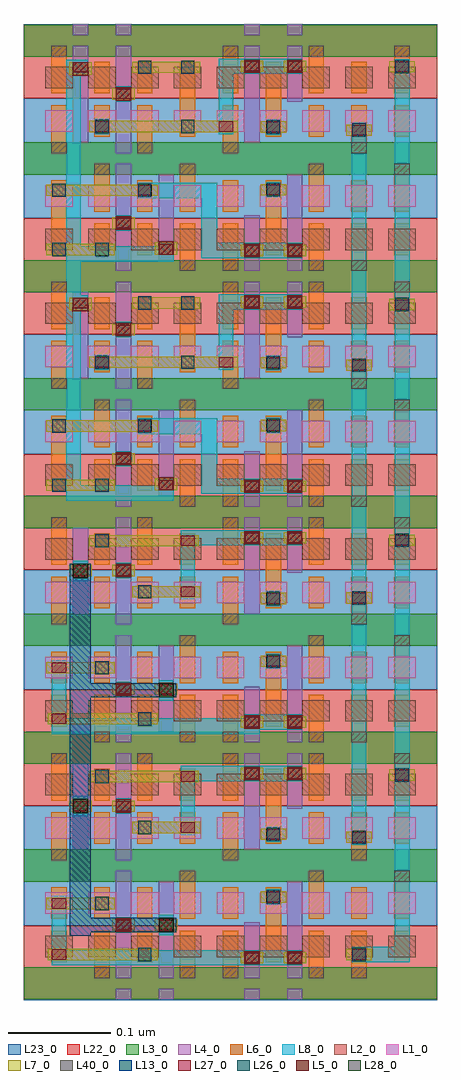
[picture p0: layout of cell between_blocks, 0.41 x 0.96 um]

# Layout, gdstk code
from math import pi, radians
import gdstk
lib = gdstk.Library(unit=1e-6, precision=2.5e-10)
def R(c, l, rs):  # rectangles x0, y0, x1, y1
    for r in rs: c.add(gdstk.rectangle(r[:2], r[2:], *l))
def A(c, l, x, y, w, h, nx, ny, dx, dy):  # array of equal rectangles
    R(c, l, [(x+i*dx, y+j*dy, x+i*dx+w, y+j*dy+h) for i in range(nx) for j in range(ny)])
def P(c, l, *ps):  # polygons
    for p in ps: c.add(gdstk.Polygon(p, *l))
L1_0 = (1, 0)
L2_0 = (2, 0)
L3_0 = (3, 0)
L4_0 = (4, 0)
L5_0 = (5, 0)
L6_0 = (6, 0)
L7_0 = (7, 0)
L8_0 = (8, 0)
L13_0 = (13, 0)
L22_0 = (22, 0)
L23_0 = (23, 0)
L26_0 = (26, 0)
L27_0 = (27, 0)
L28_0 = (28, 0)
L40_0 = (40, 0)

nand = lib.new_cell('nand')
A(nand, L1_0, 0.1255, 0.099, 0.027, 0.021, 4, 1, 0.042, 0)
A(nand, L2_0, 0.1255, 0.1415, 0.027, 0.021, 4, 1, 0.042, 0)
R(nand, L3_0, [(0.1045,0.057,0.2995,0.0885), (0.1045,0.1725,0.2995,0.204)])
R(nand, L4_0, [(0.1945,0.057,0.2095,0.0675), (0.1945,0.078,0.2095,0.183), (0.1525,0.0885,0.1675,0.1725), (0.1945,0.1935,0.2095,0.204)])
R(nand, L5_0, [(0.1525,0.1245,0.1675,0.1375), (0.1945,0.1245,0.2095,0.1375)])
A(nand, L6_0, 0.1735, 0.094, 0.015, 0.031, 3, 1, 0.042, 0)
R(nand, L6_0, [(0.1315,0.078,0.1465,0.125), (0.1315,0.1365,0.1465,0.183), (0.1735,0.1365,0.1885,0.1675), (0.2155,0.1365,0.2305,0.183), (0.2575,0.1365,0.2725,0.1675)])
R(nand, L7_0, [(0.2105,0.1045,0.2775,0.1155), (0.149,0.1255,0.171,0.1365), (0.191,0.1255,0.213,0.1365), (0.1685,0.1545,0.276,0.1655)])
R(nand, L8_0, [(0.258,0.1025,0.272,0.1675), (0.153,0.1235,0.167,0.1385), (0.195,0.1235,0.209,0.1385)])
R(nand, L22_0, [(0.1045,0.1315,0.2995,0.204)])
R(nand, L23_0, [(0.1045,0.057,0.2995,0.1315)])
R(nand, L26_0, [(0.2165,0.1035,0.2295,0.1165), (0.1745,0.1535,0.1875,0.1665)])
R(nand, L27_0, [(0.258,0.105,0.272,0.115), (0.153,0.126,0.167,0.136), (0.195,0.126,0.209,0.136), (0.258,0.155,0.272,0.165)])
R(nand, L40_0, [(0.1315,0.078,0.1465,0.0885), (0.1315,0.1725,0.1465,0.183), (0.2155,0.1725,0.2305,0.183)])

nor = lib.new_cell('nor')
A(nor, L1_0, 0.178, 0.0425, 0.027, 0.021, 4, 1, 0.042, 0)
A(nor, L2_0, 0.178, 0.085, 0.027, 0.021, 4, 1, 0.042, 0)
R(nor, L3_0, [(0.157,0.0005,0.352,0.032), (0.157,0.116,0.352,0.1475)])
R(nor, L4_0, [(0.247,0.0005,0.262,0.011), (0.247,0.0215,0.262,0.1265), (0.205,0.032,0.22,0.116), (0.247,0.137,0.262,0.1475)])
R(nor, L5_0, [(0.247,0.073,0.262,0.086), (0.205,0.0975,0.22,0.1105)])
R(nor, L6_0, [(0.184,0.0215,0.199,0.0685), (0.268,0.0215,0.283,0.0685), (0.226,0.0375,0.241,0.0685), (0.31,0.0375,0.325,0.111), (0.184,0.08,0.199,0.1265), (0.226,0.08,0.241,0.111), (0.268,0.08,0.283,0.111)])
R(nor, L7_0, [(0.221,0.042,0.33,0.053), (0.2435,0.074,0.2655,0.085), (0.2015,0.0985,0.2235,0.1105), (0.263,0.1,0.33,0.111)])
R(nor, L8_0, [(0.2265,0.04,0.2405,0.055), (0.2475,0.072,0.2615,0.087), (0.2055,0.098,0.2195,0.113)])
R(nor, L22_0, [(0.157,0.075,0.352,0.1475)])
R(nor, L23_0, [(0.157,0.0005,0.352,0.075)])
R(nor, L26_0, [(0.227,0.041,0.24,0.054), (0.311,0.041,0.324,0.054), (0.269,0.099,0.282,0.112), (0.311,0.099,0.324,0.112)])
R(nor, L27_0, [(0.2265,0.0425,0.2405,0.0525), (0.2475,0.0745,0.2615,0.0845), (0.2055,0.1005,0.2195,0.1105)])
R(nor, L40_0, [(0.184,0.0215,0.199,0.032), (0.268,0.0215,0.283,0.032), (0.184,0.116,0.199,0.1265)])

sram_filler = lib.new_cell('sram_filler')
R(sram_filler, L1_0, [(0.022,0.042,0.049,0.063), (0.064,0.042,0.091,0.063)])
R(sram_filler, L2_0, [(0.022,0.0845,0.049,0.1055), (0.064,0.0845,0.091,0.1055)])
R(sram_filler, L3_0, [(0.001,0,0.112,0.0315), (0.001,0.1155,0.112,0.147)])
R(sram_filler, L6_0, [(0.028,0.021,0.043,0.068), (0.07,0.037,0.085,0.068), (0.028,0.0795,0.043,0.1105), (0.07,0.0795,0.085,0.126)])
R(sram_filler, L22_0, [(0.001,0.0745,0.112,0.147)])
R(sram_filler, L23_0, [(0.001,0,0.112,0.0745)])
R(sram_filler, L40_0, [(0.028,0.021,0.043,0.0315), (0.07,0.1155,0.085,0.126)])

inv = lib.new_cell('inv')
A(inv, L1_0, 0.021, 0.042, 0.027, 0.021, 3, 1, 0.042, 0)
A(inv, L2_0, 0.021, 0.0845, 0.027, 0.021, 3, 1, 0.042, 0)
R(inv, L3_0, [(0,0,0.153,0.0315), (0,0.1155,0.153,0.147)])
R(inv, L4_0, [(0.048,0.0315,0.063,0.126), (0.09,0.0715,0.105,0.126), (0.048,0.1365,0.063,0.147), (0.09,0.1365,0.105,0.147)])
R(inv, L5_0, [(0.048,0.0995,0.063,0.1125), (0.09,0.0995,0.105,0.1125)])
R(inv, L6_0, [(0.027,0.021,0.042,0.068), (0.069,0.037,0.084,0.1105), (0.111,0.037,0.126,0.068), (0.027,0.0795,0.042,0.126), (0.111,0.0795,0.126,0.126)])
R(inv, L7_0, [(0.064,0.041,0.089,0.052), (0.0445,0.1005,0.0665,0.1115), (0.0865,0.1005,0.1085,0.1115)])
R(inv, L8_0, [(0.0695,0.039,0.0835,0.054), (0.0485,0.0985,0.1045,0.1135)])
R(inv, L22_0, [(0,0.0745,0.153,0.147)])
R(inv, L23_0, [(0,0,0.153,0.0745)])
R(inv, L26_0, [(0.07,0.04,0.083,0.053)])
R(inv, L27_0, [(0.0695,0.0415,0.0835,0.0515), (0.0485,0.101,0.0625,0.111), (0.0905,0.101,0.1045,0.111)])
R(inv, L40_0, [(0.027,0.021,0.042,0.0315), (0.027,0.1155,0.042,0.126), (0.111,0.1155,0.126,0.126)])

between_blocks = lib.new_cell('between_blocks')
A(between_blocks, L1_0, 0.145, -0.233, 0.027, 0.021, 3, 4, 0.042, 0.231)
A(between_blocks, L1_0, 0.355, -0.233, 0.027, 0.021, 1, 4, 0, 0.231)
A(between_blocks, L1_0, 0.103, -0.1595, 0.027, 0.021, 3, 4, 0.042, 0.231)
A(between_blocks, L1_0, 0.271, -0.1595, 0.027, 0.021, 1, 4, 0, 0.231)
R(between_blocks, L1_0, [(0.313,-0.233,0.34,-0.212), (0.313,-0.1595,0.34,-0.1385), (0.313,-0.002,0.34,0.019), (0.313,0.0715,0.34,0.0925), (0.313,0.229,0.34,0.25), (0.313,0.3025,0.34,0.3235), (0.313,0.46,0.34,0.481), (0.313,0.5335,0.34,0.5545)])
A(between_blocks, L2_0, 0.145, -0.2755, 0.027, 0.021, 6, 4, 0.042, 0.231)
A(between_blocks, L2_0, 0.103, -0.117, 0.027, 0.021, 3, 4, 0.042, 0.231)
A(between_blocks, L2_0, 0.271, -0.117, 0.027, 0.021, 3, 4, 0.042, 0.231)
R(between_blocks, L3_0, [(0.402,-0.196,0.421,-0.1825), (0.4425,0.621,0.465,0.636)])
A(between_blocks, L4_0, 0.172, -0.296, 0.015, 0.105, 1, 8, 0, 0.1155)
A(between_blocks, L4_0, 0.298, -0.296, 0.015, 0.0545, 1, 4, 0, 0.231)
A(between_blocks, L4_0, 0.34, -0.296, 0.015, 0.0945, 1, 4, 0, 0.231)
A(between_blocks, L4_0, 0.13, -0.17, 0.015, 0.084, 1, 3, 0, 0.231)
A(between_blocks, L4_0, 0.298, -0.17, 0.015, 0.0945, 1, 4, 0, 0.231)
A(between_blocks, L4_0, 0.34, -0.13, 0.015, 0.0545, 1, 4, 0, 0.231)
A(between_blocks, L4_0, 0.214, -0.0545, 0.015, 0.084, 1, 3, 0, 0.231)
R(between_blocks, L4_0, [(0.172,-0.317,0.187,-0.3065), (0.214,-0.317,0.229,-0.3065), (0.298,-0.317,0.313,-0.3065), (0.34,-0.317,0.355,-0.3065), (0.214,-0.296,0.229,-0.2015), (0.13,0.523,0.145,0.6175), (0.13,0.628,0.145,0.6385), (0.172,0.628,0.187,0.6385), (0.298,0.628,0.313,0.6385), (0.34,0.628,0.355,0.6385)])
R(between_blocks, L6_0, [(0.403,-0.2785,0.418,-0.2675), (0.403,-0.1635,0.418,-0.1525), (0.445,-0.1025,0.46,-0.0915), (0.403,0.071,0.418,0.082), (0.445,0.1275,0.46,0.1385), (0.403,0.299,0.418,0.31), (0.445,0.3585,0.46,0.3695), (0.403,0.5295,0.418,0.5405), (0.445,0.5915,0.46,0.6025)])
R(between_blocks, L7_0, [(0.398,-0.2785,0.423,-0.2675), (0.398,-0.1635,0.423,-0.1525), (0.44,-0.1025,0.465,-0.0915), (0.398,0.071,0.423,0.082), (0.44,0.1275,0.465,0.1385), (0.398,0.299,0.423,0.31), (0.233,0.302,0.2915,0.313), (0.44,0.3585,0.465,0.3695), (0.398,0.5295,0.423,0.5405), (0.233,0.533,0.2915,0.544), (0.44,0.5915,0.465,0.6025)])
R(between_blocks, L8_0, [(0.1095,-0.2835,0.3305,-0.2685), (0.2145,-0.254,0.2285,-0.234), (0.4035,-0.1655,0.4175,0.5425), (0.1305,-0.1375,0.1445,-0.1175), (0.2145,-0.024,0.2285,-0.004), (0.1305,0.093,0.1445,0.113), (0.173,0.21,0.188,0.2175), (0.173,0.3365,0.1845,0.344), (0.1735,0.4415,0.1835,0.4475), (0.173,0.5665,0.186,0.576)])
P(between_blocks, L8_0, [(0.46,0.6045),(0.46,-0.2805),(0.4035,-0.2805),(0.4035,-0.2655),(0.4455,-0.2655),(0.4455,0.6045)],
  [(0.3185,0.605),(0.3185,0.59),(0.287,0.59),(0.287,0.531),(0.273,0.531),(0.273,0.605)],
  [(0.3185,0.374),(0.3185,0.359),(0.287,0.359),(0.287,0.3),(0.273,0.3),(0.273,0.374)],
  [(0.318,0.143),(0.318,0.128),(0.2495,0.128),(0.2495,0.1135),(0.2355,0.1135),(0.2355,0.143)],
  [(0.318,-0.088),(0.318,-0.103),(0.2495,-0.103),(0.2495,-0.1175),(0.2355,-0.1175),(0.2355,-0.088)],
  [(0.2715,0.4835),(0.2715,0.4245),(0.3175,0.4245),(0.3175,0.4095),(0.256,0.4095),(0.256,0.468),(0.1935,0.468),(0.1935,0.4835)],
  [(0.2715,0.2525),(0.2715,0.1935),(0.3175,0.1935),(0.3175,0.1785),(0.256,0.1785),(0.256,0.237),(0.1935,0.237),(0.1935,0.2525)],
  [(0.1375,0.604),(0.1375,0.421),(0.214,0.421),(0.214,0.426),(0.229,0.426),(0.229,0.4065),(0.2285,0.4065),(0.2285,0.406),(0.1375,0.406),(0.1375,0.187),(0.214,0.187),(0.214,0.195),(0.229,0.195),(0.229,0.1725),(0.2285,0.1725),(0.2285,0.172),(0.1235,0.172),(0.1235,0.604)],
  [(0.313,-0.0375),(0.313,-0.057),(0.1095,-0.057),(0.1095,-0.0415),(0.2985,-0.0415),(0.2985,-0.0375)])
P(between_blocks, L13_0, [(0.1475,0.11),(0.1475,-0.007),(0.2315,-0.007),(0.2315,-0.021),(0.1475,-0.021),(0.1475,-0.237),(0.2315,-0.237),(0.2315,-0.251),(0.1475,-0.251),(0.1475,-0.2545),(0.127,-0.2545),(0.127,0.11)])
A(between_blocks, L23_0, 0.403, -0.2445, 0.084, 0.1175, 1, 4, 0, 0.231)
R(between_blocks, L23_0, [(0.082,-0.3175,0.487,-0.317), (0.082,0.6385,0.487,0.639)])
R(between_blocks, L26_0, [(0.404,-0.2795,0.417,-0.2665), (0.404,-0.1645,0.417,-0.1515), (0.446,-0.1035,0.459,-0.0905), (0.404,0.07,0.417,0.083), (0.446,0.1265,0.459,0.1395), (0.404,0.298,0.417,0.311), (0.446,0.3575,0.459,0.3705), (0.404,0.5285,0.417,0.5415), (0.446,0.5905,0.459,0.6035)])
R(between_blocks, L27_0, [(0.4035,-0.278,0.4175,-0.268), (0.4035,-0.163,0.4175,-0.153), (0.4455,-0.102,0.4595,-0.092), (0.4035,0.0715,0.4175,0.0815), (0.4455,0.128,0.4595,0.138), (0.4035,0.2995,0.4175,0.3095), (0.273,0.3025,0.287,0.3125), (0.4455,0.359,0.4595,0.369), (0.4035,0.53,0.4175,0.54), (0.273,0.5335,0.287,0.5435), (0.4455,0.592,0.4595,0.602)])
R(between_blocks, L28_0, [(0.2145,-0.251,0.2285,-0.237), (0.1305,-0.1345,0.1445,-0.1205), (0.2145,-0.021,0.2285,-0.007), (0.1305,0.096,0.1445,0.11)])
between_blocks.add(gdstk.Reference(nand, (0.3815,-0.113), rotation=pi))
between_blocks.add(gdstk.Reference(nand, (-0.0225,-0.2585)))
between_blocks.add(gdstk.Reference(nand, (0.3815,0.118), rotation=pi))
between_blocks.add(gdstk.Reference(nand, (-0.0225,-0.0275)))
between_blocks.add(gdstk.Reference(nor, (0.434,0.2925), rotation=pi))
between_blocks.add(gdstk.Reference(nor, (-0.075,0.26)))
between_blocks.add(gdstk.Reference(nor, (0.434,0.5235), rotation=pi))
between_blocks.add(gdstk.Reference(nor, (-0.075,0.491)))
between_blocks.add(gdstk.Reference(sram_filler, (0.488,-0.17), rotation=pi))
between_blocks.add(gdstk.Reference(sram_filler, (0.375,-0.2015)))
between_blocks.add(gdstk.Reference(sram_filler, (0.488,0.061), rotation=pi))
between_blocks.add(gdstk.Reference(sram_filler, (0.375,0.0295)))
between_blocks.add(gdstk.Reference(sram_filler, (0.488,0.292), rotation=pi))
between_blocks.add(gdstk.Reference(sram_filler, (0.375,0.2605)))
between_blocks.add(gdstk.Reference(sram_filler, (0.488,0.523), rotation=pi))
between_blocks.add(gdstk.Reference(sram_filler, (0.375,0.4915)))
between_blocks.add(gdstk.Reference(inv, (0.403,-0.17), rotation=pi))
between_blocks.add(gdstk.Reference(inv, (0.25,-0.2015)))
between_blocks.add(gdstk.Reference(inv, (0.403,0.061), rotation=pi))
between_blocks.add(gdstk.Reference(inv, (0.25,0.0295)))
between_blocks.add(gdstk.Reference(inv, (0.403,0.292), rotation=pi))
between_blocks.add(gdstk.Reference(inv, (0.25,0.2605)))
between_blocks.add(gdstk.Reference(inv, (0.403,0.523), rotation=pi))
between_blocks.add(gdstk.Reference(inv, (0.25,0.4915)))

lib.write_gds('between_blocks.gds')
